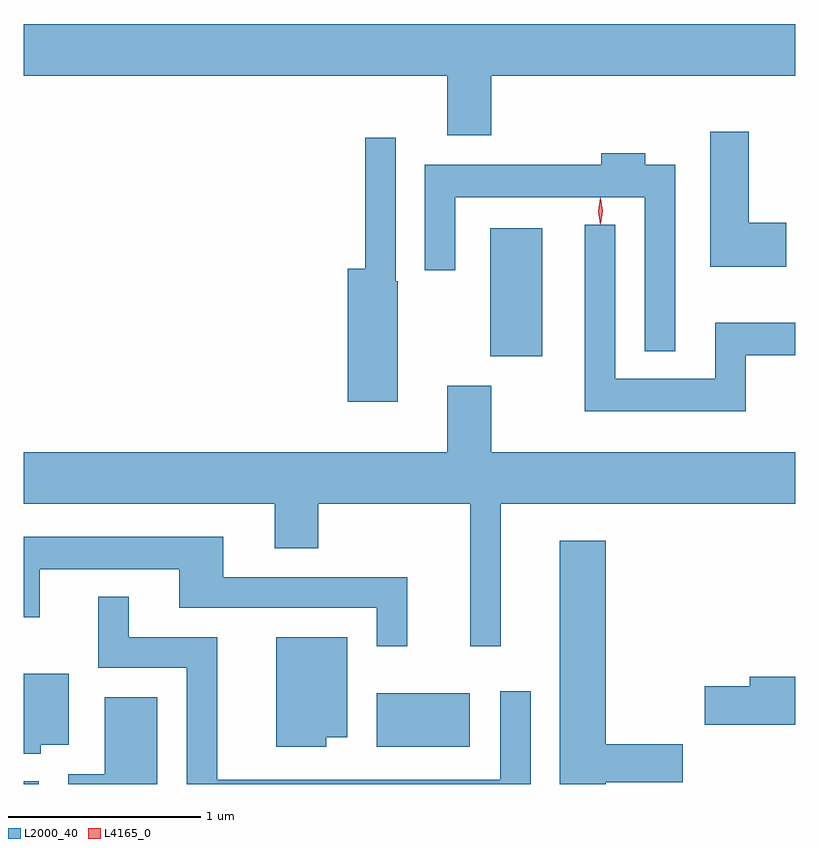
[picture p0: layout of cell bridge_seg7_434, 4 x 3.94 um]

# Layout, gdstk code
import gdstk
lib = gdstk.Library(unit=1e-6, precision=1e-09)
def R(c, l, rs):  # rectangles x0, y0, x1, y1
    for r in rs: c.add(gdstk.rectangle(r[:2], r[2:], *l))
def P(c, l, *ps):  # polygons
    for p in ps: c.add(gdstk.Polygon(p, *l))
L2000_40 = (2000, 40)
L4165_0 = (4165, 0)

bridge_seg7_434 = lib.new_cell('bridge_seg7_434')
R(bridge_seg7_434, L2000_40, [(1164.486,1690.663,1164.564,1690.678), (1166.316,1690.856,1166.799,1691.134), (1166.906,1692.881,1167.174,1693.544)])
P(bridge_seg7_434, L2000_40, [(1166.909,1694.336),(1168.486,1694.336),(1168.486,1694.604),(1164.486,1694.604),(1164.486,1694.336),(1166.681,1694.336),(1166.681,1694.026),(1166.909,1694.026)],
  [(1168.439,1693.574),(1168.244,1693.574),(1168.244,1694.044),(1168.046,1694.044),(1168.046,1693.346),(1168.439,1693.346)],
  [(1166.424,1693.27),(1166.414,1693.27),(1166.414,1694.013),(1166.256,1694.013),(1166.256,1693.334),(1166.166,1693.334),(1166.166,1692.646),(1166.424,1692.646)],
  [(1167.864,1693.874),(1167.709,1693.874),(1167.709,1693.934),(1167.481,1693.934),(1167.481,1693.874),(1166.566,1693.874),(1166.566,1693.328),(1166.724,1693.328),(1166.724,1693.706),(1167.706,1693.706),(1167.706,1692.908),(1167.864,1692.908)],
  [(1168.229,1692.886),(1168.486,1692.886),(1168.486,1693.054),(1168.071,1693.054),(1168.071,1692.764),(1167.554,1692.764),(1167.554,1693.563),(1167.396,1693.563),(1167.396,1692.596),(1168.229,1692.596)],
  [(1166.959,1692.116),(1168.486,1692.116),(1168.486,1692.384),(1166.909,1692.384),(1166.909,1692.729),(1166.681,1692.729),(1166.681,1692.384),(1164.486,1692.384),(1164.486,1692.116),(1165.786,1692.116),(1165.786,1691.886),(1166.014,1691.886),(1166.014,1692.116),(1166.801,1692.116),(1166.801,1691.378),(1166.959,1691.378)],
  [(1166.474,1691.734),(1165.519,1691.734),(1165.519,1691.944),(1164.486,1691.944),(1164.486,1691.528),(1164.569,1691.528),(1164.569,1691.776),(1165.291,1691.776),(1165.291,1691.576),(1166.316,1691.576),(1166.316,1691.378),(1166.474,1691.378)],
  [(1167.504,1690.671),(1167.904,1690.671),(1167.904,1690.869),(1167.504,1690.869),(1167.504,1691.924),(1167.266,1691.924),(1167.266,1690.663),(1167.504,1690.663)],
  [(1167.114,1691.143),(1166.956,1691.143),(1166.956,1690.684),(1165.489,1690.684),(1165.489,1691.424),(1165.029,1691.424),(1165.029,1691.633),(1164.871,1691.633),(1164.871,1691.266),(1165.331,1691.266),(1165.331,1690.663),(1167.114,1690.663)],
  [(1166.054,1690.906),(1166.164,1690.906),(1166.164,1691.424),(1165.796,1691.424),(1165.796,1690.856),(1166.054,1690.856)],
  [(1164.574,1690.866),(1164.719,1690.866),(1164.719,1691.234),(1164.486,1691.234),(1164.486,1690.821),(1164.574,1690.821)],
  [(1168.486,1691.219),(1168.251,1691.219),(1168.251,1691.169),(1168.016,1691.169),(1168.016,1690.971),(1168.486,1690.971)],
  [(1165.179,1691.114),(1164.906,1691.114),(1164.906,1690.714),(1164.716,1690.714),(1164.716,1690.663),(1165.179,1690.663)])
P(bridge_seg7_434, L4165_0, [(1167.474,1693.564),(1167.465,1693.634),(1167.474,1693.702),(1167.475,1693.703),(1167.475,1693.702),(1167.485,1693.634),(1167.475,1693.564),(1167.475,1693.564)],
  [(1167.477,1693.567),(1167.476,1693.568),(1167.467,1693.634),(1167.477,1693.7),(1167.477,1693.7),(1167.478,1693.7),(1167.487,1693.634),(1167.477,1693.568)])

lib.write_gds('bridge_seg7_434.gds')
